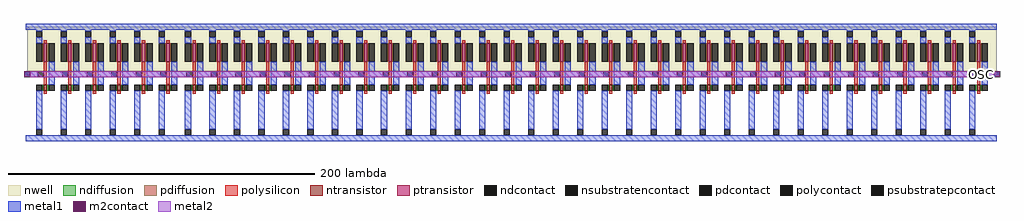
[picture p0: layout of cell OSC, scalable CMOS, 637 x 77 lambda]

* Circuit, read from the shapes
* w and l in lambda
.subckt OSC gnd vdd
M1 INV_1/A INV_0/A gnd gnd nfet w=4 l=2
M2 INV_2/A INV_1/A gnd gnd nfet w=4 l=2
M3 INV_3/A INV_2/A gnd gnd nfet w=4 l=2
M4 INV_4/A INV_3/A gnd gnd nfet w=4 l=2
M5 INV_5/A INV_4/A gnd gnd nfet w=4 l=2
M6 INV_6/A INV_5/A gnd gnd nfet w=4 l=2
M7 INV_7/A INV_6/A gnd gnd nfet w=4 l=2
M8 INV_8/A INV_7/A gnd gnd nfet w=4 l=2
M9 INV_9/A INV_8/A gnd gnd nfet w=4 l=2
M10 INV_10/A INV_9/A gnd gnd nfet w=4 l=2
M11 INV_11/A INV_10/A gnd gnd nfet w=4 l=2
M12 INV_12/A INV_11/A gnd gnd nfet w=4 l=2
M13 INV_13/A INV_12/A gnd gnd nfet w=4 l=2
M14 INV_14/A INV_13/A gnd gnd nfet w=4 l=2
M15 INV_15/A INV_14/A gnd gnd nfet w=4 l=2
M16 INV_16/A INV_15/A gnd gnd nfet w=4 l=2
M17 INV_17/A INV_16/A gnd gnd nfet w=4 l=2
M18 INV_18/A INV_17/A gnd gnd nfet w=4 l=2
M19 INV_19/A INV_18/A gnd gnd nfet w=4 l=2
M20 INV_20/A INV_19/A gnd gnd nfet w=4 l=2
M21 INV_21/A INV_20/A gnd gnd nfet w=4 l=2
M22 INV_22/A INV_21/A gnd gnd nfet w=4 l=2
M23 INV_23/A INV_22/A gnd gnd nfet w=4 l=2
M24 INV_24/A INV_23/A gnd gnd nfet w=4 l=2
M25 INV_25/A INV_24/A gnd gnd nfet w=4 l=2
M26 INV_26/A INV_25/A gnd gnd nfet w=4 l=2
M27 INV_27/A INV_26/A gnd gnd nfet w=4 l=2
M28 INV_28/A INV_27/A gnd gnd nfet w=4 l=2
M29 INV_29/A INV_28/A gnd gnd nfet w=4 l=2
M30 INV_30/A INV_29/A gnd gnd nfet w=4 l=2
M31 INV_31/A INV_30/A gnd gnd nfet w=4 l=2
M32 INV_32/A INV_31/A gnd gnd nfet w=4 l=2
M33 INV_33/A INV_32/A gnd gnd nfet w=4 l=2
M34 INV_34/A INV_33/A gnd gnd nfet w=4 l=2
M35 INV_35/A INV_34/A gnd gnd nfet w=4 l=2
M36 INV_36/A INV_35/A gnd gnd nfet w=4 l=2
M37 INV_37/A INV_36/A gnd gnd nfet w=4 l=2
M38 INV_38/A INV_37/A gnd gnd nfet w=4 l=2
M39 INV_0/A INV_38/A gnd gnd nfet w=4 l=2
M40 INV_1/A INV_0/A vdd vdd pfet w=12 l=2
M41 INV_2/A INV_1/A vdd vdd pfet w=12 l=2
M42 INV_3/A INV_2/A vdd vdd pfet w=12 l=2
M43 INV_4/A INV_3/A vdd vdd pfet w=12 l=2
M44 INV_5/A INV_4/A vdd vdd pfet w=12 l=2
M45 INV_6/A INV_5/A vdd vdd pfet w=12 l=2
M46 INV_7/A INV_6/A vdd vdd pfet w=12 l=2
M47 INV_8/A INV_7/A vdd vdd pfet w=12 l=2
M48 INV_9/A INV_8/A vdd vdd pfet w=12 l=2
M49 INV_10/A INV_9/A vdd vdd pfet w=12 l=2
M50 INV_11/A INV_10/A vdd vdd pfet w=12 l=2
M51 INV_12/A INV_11/A vdd vdd pfet w=12 l=2
M52 INV_13/A INV_12/A vdd vdd pfet w=12 l=2
M53 INV_14/A INV_13/A vdd vdd pfet w=12 l=2
M54 INV_15/A INV_14/A vdd vdd pfet w=12 l=2
M55 INV_16/A INV_15/A vdd vdd pfet w=12 l=2
M56 INV_17/A INV_16/A vdd vdd pfet w=12 l=2
M57 INV_18/A INV_17/A vdd vdd pfet w=12 l=2
M58 INV_19/A INV_18/A vdd vdd pfet w=12 l=2
M59 INV_20/A INV_19/A vdd vdd pfet w=12 l=2
M60 INV_21/A INV_20/A vdd vdd pfet w=12 l=2
M61 INV_22/A INV_21/A vdd vdd pfet w=12 l=2
M62 INV_23/A INV_22/A vdd vdd pfet w=12 l=2
M63 INV_24/A INV_23/A vdd vdd pfet w=12 l=2
M64 INV_25/A INV_24/A vdd vdd pfet w=12 l=2
M65 INV_26/A INV_25/A vdd vdd pfet w=12 l=2
M66 INV_27/A INV_26/A vdd vdd pfet w=12 l=2
M67 INV_28/A INV_27/A vdd vdd pfet w=12 l=2
M68 INV_29/A INV_28/A vdd vdd pfet w=12 l=2
M69 INV_30/A INV_29/A vdd vdd pfet w=12 l=2
M70 INV_31/A INV_30/A vdd vdd pfet w=12 l=2
M71 INV_32/A INV_31/A vdd vdd pfet w=12 l=2
M72 INV_33/A INV_32/A vdd vdd pfet w=12 l=2
M73 INV_34/A INV_33/A vdd vdd pfet w=12 l=2
M74 INV_35/A INV_34/A vdd vdd pfet w=12 l=2
M75 INV_36/A INV_35/A vdd vdd pfet w=12 l=2
M76 INV_37/A INV_36/A vdd vdd pfet w=12 l=2
M77 INV_38/A INV_37/A vdd vdd pfet w=12 l=2
M78 INV_0/A INV_38/A vdd vdd pfet w=12 l=2
.ends

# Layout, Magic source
magic
tech scmos
<< m2contact >>
rect 0 42 4 46
rect 633 42 637 46
<< metal2 >>
rect 4 42 633 46
use INV  INV_0
transform 1 0 -168 0 1 50
box 168 -50 196 27
use INV  INV_1
transform 1 0 -152 0 1 50
box 168 -50 196 27
use INV  INV_2
transform 1 0 -136 0 1 50
box 168 -50 196 27
use INV  INV_3
transform 1 0 -120 0 1 50
box 168 -50 196 27
use INV  INV_4
transform 1 0 -104 0 1 50
box 168 -50 196 27
use INV  INV_5
transform 1 0 -88 0 1 50
box 168 -50 196 27
use INV  INV_6
transform 1 0 -71 0 1 50
box 168 -50 196 27
use INV  INV_7
transform 1 0 -55 0 1 50
box 168 -50 196 27
use INV  INV_8
transform 1 0 -39 0 1 50
box 168 -50 196 27
use INV  INV_9
transform 1 0 -23 0 1 50
box 168 -50 196 27
use INV  INV_10
transform 1 0 -7 0 1 50
box 168 -50 196 27
use INV  INV_11
transform 1 0 9 0 1 50
box 168 -50 196 27
use INV  INV_12
transform 1 0 25 0 1 50
box 168 -50 196 27
use INV  INV_13
transform 1 0 41 0 1 50
box 168 -50 196 27
use INV  INV_14
transform 1 0 57 0 1 50
box 168 -50 196 27
use INV  INV_15
transform 1 0 73 0 1 50
box 168 -50 196 27
use INV  INV_16
transform 1 0 89 0 1 50
box 168 -50 196 27
use INV  INV_17
transform 1 0 105 0 1 50
box 168 -50 196 27
use INV  INV_18
transform 1 0 121 0 1 50
box 168 -50 196 27
use INV  INV_19
transform 1 0 137 0 1 50
box 168 -50 196 27
use INV  INV_20
transform 1 0 153 0 1 50
box 168 -50 196 27
use INV  INV_21
transform 1 0 169 0 1 50
box 168 -50 196 27
use INV  INV_22
transform 1 0 185 0 1 50
box 168 -50 196 27
use INV  INV_23
transform 1 0 201 0 1 50
box 168 -50 196 27
use INV  INV_24
transform 1 0 217 0 1 50
box 168 -50 196 27
use INV  INV_25
transform 1 0 233 0 1 50
box 168 -50 196 27
use INV  INV_26
transform 1 0 249 0 1 50
box 168 -50 196 27
use INV  INV_27
transform 1 0 265 0 1 50
box 168 -50 196 27
use INV  INV_28
transform 1 0 281 0 1 50
box 168 -50 196 27
use INV  INV_29
transform 1 0 297 0 1 50
box 168 -50 196 27
use INV  INV_30
transform 1 0 313 0 1 50
box 168 -50 196 27
use INV  INV_31
transform 1 0 329 0 1 50
box 168 -50 196 27
use INV  INV_32
transform 1 0 345 0 1 50
box 168 -50 196 27
use INV  INV_33
transform 1 0 361 0 1 50
box 168 -50 196 27
use INV  INV_34
transform 1 0 377 0 1 50
box 168 -50 196 27
use INV  INV_35
transform 1 0 393 0 1 50
box 168 -50 196 27
use INV  INV_36
transform 1 0 409 0 1 50
box 168 -50 196 27
use INV  INV_37
transform 1 0 425 0 1 50
box 168 -50 196 27
use INV  INV_38
transform 1 0 441 0 1 50
box 168 -50 196 27
<< labels >>
rlabel metal2 625 44 625 44 1 OSC
<< end >>

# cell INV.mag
magic
tech scmos
<< nwell >>
rect 170 -4 194 25
<< ntransistor >>
rect 181 -17 183 -13
<< ptransistor >>
rect 181 2 183 14
<< ndiffusion >>
rect 180 -17 181 -13
rect 183 -17 184 -13
<< pdiffusion >>
rect 180 2 181 14
rect 183 2 184 14
<< ndcontact >>
rect 176 -17 180 -13
rect 184 -17 188 -13
<< pdcontact >>
rect 176 2 180 14
rect 184 2 188 14
<< psubstratepcontact >>
rect 176 -46 180 -42
<< nsubstratencontact >>
rect 176 18 180 22
<< polysilicon >>
rect 181 14 183 16
rect 181 -13 183 2
rect 181 -19 183 -17
<< polycontact >>
rect 177 -8 181 -4
<< metal1 >>
rect 169 23 194 27
rect 176 22 180 23
rect 176 14 180 18
rect 184 -4 188 2
rect 168 -8 177 -4
rect 184 -8 196 -4
rect 184 -13 188 -8
rect 176 -42 180 -17
rect 169 -50 194 -46
<< labels >>
rlabel metal1 182 -48 182 -48 1 gnd
rlabel metal1 182 26 182 26 5 vdd
rlabel metal1 172 -6 172 -6 3 A
rlabel metal1 193 -6 193 -6 7 Z
<< end >>
